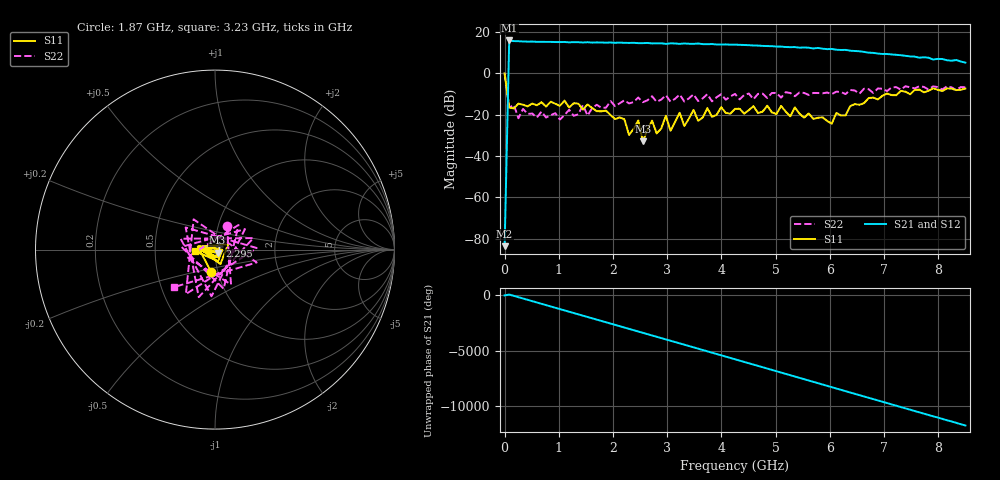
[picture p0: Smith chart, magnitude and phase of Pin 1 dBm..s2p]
! RsaToolbox (C) 2013 Rohde & Schwarz America
! Number of points: 101
! Number of ports: 2
! Balanced ports?: 0
# Hz S RI R 50
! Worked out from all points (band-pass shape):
!   101 points, 9 kHz to 8.5 GHz, reference 50 ohm
!   highest |S21| = 15.93 dB at 85.01 MHz (marker M1); lowest = -83.6 dB at 9 kHz (marker M2)
!   |S21| within 3 dB of the highest: 82.45 MHz to 5.111 GHz (5.029 GHz wide, 194 % of centre)
!   lowest |S11| = -32.9 dB at 2.55 GHz (marker M3), VSWR 1.05, Z = 51.4 - j1.8 ohm
!   |S11| at or under -10 dB: 51.61 MHz to 7.036 GHz (6.985 GHz wide, 197 % of centre); 7.082 GHz to 7.249 GHz (167 MHz wide, 2.33 % of centre); 7.472729 GHz to 7.484313 GHz (11.58 MHz wide, 0.155 % of centre)
!   |S22| runs from -22.4 to 0.1 dB; largest |S21 - S12| = 0
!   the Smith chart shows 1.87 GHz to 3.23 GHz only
!   S11 on the Smith chart (normalised r, x): 1.87 GHz: 0.93, -0.23; 2.295 GHz: 1.05, +0.04; 3.23 GHz: 0.80, -0.01
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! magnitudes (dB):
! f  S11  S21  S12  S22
! 9 kHz  0.0  -83.6  -83.6  0.1
! 85.01 MHz  -16.5  15.9  15.9  -16.6
! 1.02 GHz  -15.7  15.1  15.1  -22.4
! 1.445 GHz  -17.5  15.0  15.0  -15.3
! 1.87 GHz  -18.0  14.9  14.9  -16.6
! 2.21 GHz  -22.2  14.8  14.8  -13.0
! 2.295 GHz  -29.8  14.7  14.7  -14.6
! 2.465 GHz  -22.8  14.6  14.6  -11.7
! 2.55 GHz  -32.9  14.6  14.6  -14.0
! 2.72 GHz  -22.9  14.5  14.5  -11.1
! 2.89 GHz  -26.7  14.6  14.6  -12.7
! 2.975 GHz  -20.5  14.3  14.3  -10.6
! 3.06 GHz  -27.8  14.5  14.5  -13.7
! 3.23 GHz  -19.1  14.3  14.3  -10.2
! 3.315 GHz  -25.5  14.5  14.5  -13.6
! 3.485 GHz  -17.7  14.3  14.3  -10.2
! 3.57 GHz  -23.0  14.4  14.4  -13.4
! 4.25 GHz  -17.1  13.9  13.9  -9.9
! 5.695 GHz  -22.0  12.0  12.0  -9.5
! 6.035 GHz  -24.4  11.8  11.8  -10.0
! 7.14 GHz  -10.5  9.2  9.2  -6.8
! 8.5 GHz  -7.4  5.2  5.2  -6.7
